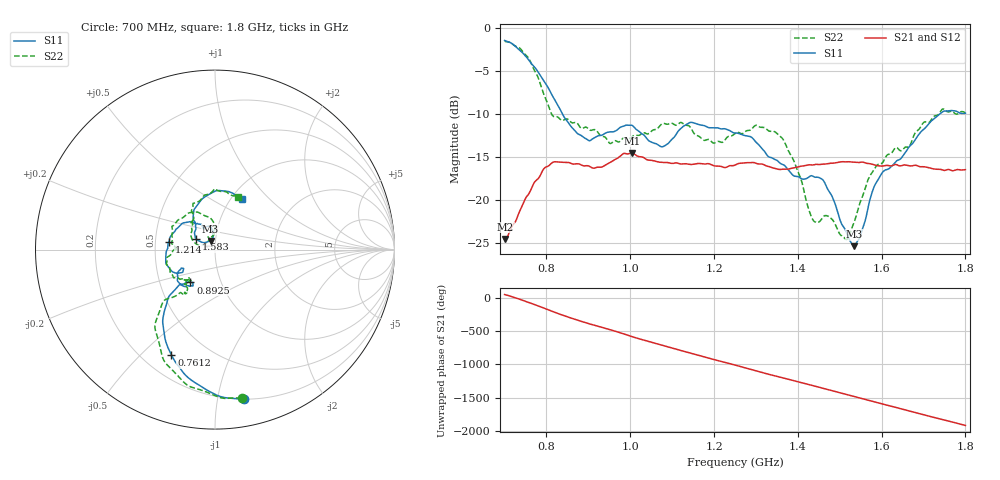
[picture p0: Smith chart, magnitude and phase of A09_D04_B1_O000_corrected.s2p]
! Created with skrf 1.9.0 (http://scikit-rf.org).
# Hz S RI R 50.0
!freq ReS11 ImS11 ReS21 ImS21 ReS12 ImS12 ReS22 ImS22
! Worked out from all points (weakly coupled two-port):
!   1601 points, 700 MHz to 1.8 GHz, reference 50 ohm
!   highest |S21| = -14.52 dB at 1.005 GHz (marker M1); lowest = -24.5 dB at 701.4 MHz (marker M2)
!   lowest |S11| = -25.4 dB at 1.534 GHz (marker M3), VSWR 1.11, Z = 47.4 + j4.55 ohm
!   |S11| at or under -10 dB: 838.3 MHz to 1.738 GHz (900.1 MHz wide, 69.9 % of centre)
!   |S22| runs from -24.6 to -1.5 dB; largest |S21 - S12| = 0.0035
!   S11 on the Smith chart (normalised r, x): 700 MHz: 0.20, -1.19; 761.2 MHz: 0.32, -0.62; 892.5 MHz: 0.71, -0.28; 1.214 GHz: 0.59, +0.06; 1.583 GHz: 0.80, +0.09; 1.8 GHz: 1.12, +0.70
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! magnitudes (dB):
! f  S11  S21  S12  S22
! 700 MHz  -1.4  -24.5  -24.3  -1.5
! 701.4 MHz  -1.5  -24.5  -24.2  -1.5
! 761.2 MHz  -3.9  -19.0  -18.9  -3.8
! 814.1 MHz  -7.9  -15.6  -15.7  -10.1
! 883.6 MHz  -12.5  -15.9  -15.8  -11.7
! 892.5 MHz  -12.8  -16.0  -16.1  -11.5
! 952.3 MHz  -12.1  -15.6  -15.6  -13.4
! 1.005 GHz  -11.3  -14.5  -14.7  -12.6
! 1.067 GHz  -13.6  -15.6  -15.5  -11.6
! 1.143 GHz  -11.0  -15.9  -15.8  -11.5
! 1.214 GHz  -11.7  -16.1  -16.0  -13.2
! 1.25 GHz  -12.2  -15.9  -15.9  -12.2
! 1.302 GHz  -13.3  -15.7  -15.7  -11.3
! 1.361 GHz  -15.8  -16.4  -16.4  -12.7
! 1.434 GHz  -17.2  -15.9  -15.9  -22.1
! 1.462 GHz  -17.8  -15.8  -15.8  -21.9
! 1.515 GHz  -23.6  -15.6  -15.5  -24.6
! 1.534 GHz  -25.4  -15.6  -15.6  -22.6
! 1.583 GHz  -18.4  -15.9  -15.9  -16.4
! 1.617 GHz  -16.4  -16.0  -16.0  -14.7
! 1.742 GHz  -9.8  -16.4  -16.4  -9.6
! 1.8 GHz  -9.9  -16.5  -16.5  -9.9
